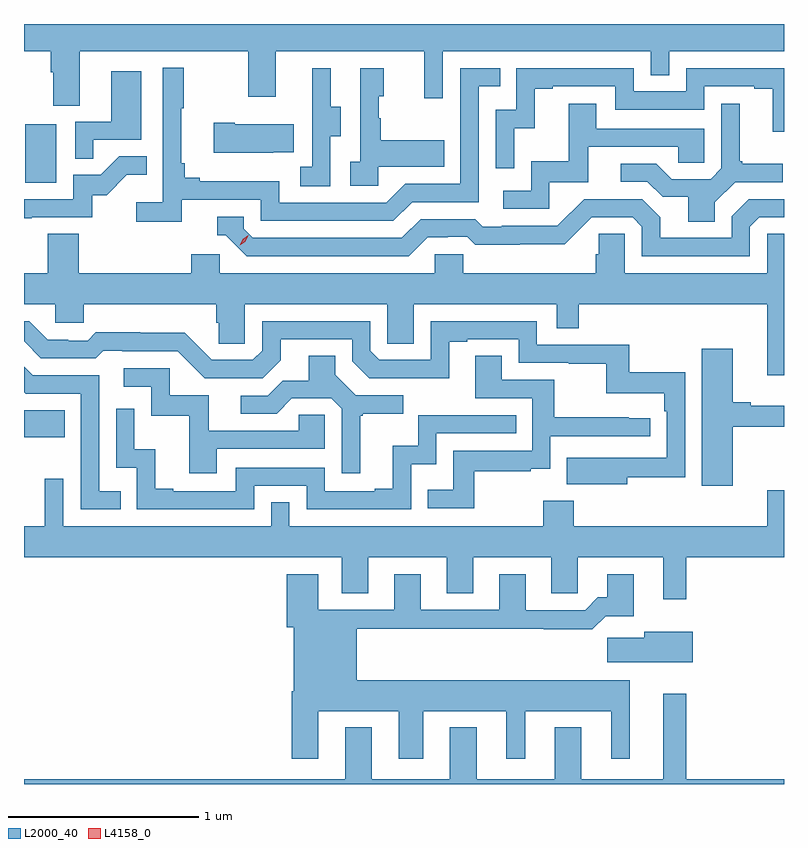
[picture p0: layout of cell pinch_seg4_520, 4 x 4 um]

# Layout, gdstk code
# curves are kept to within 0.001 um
import gdstk
lib = gdstk.Library(unit=1e-6, precision=1e-09)
def R(c, l, rs):  # rectangles x0, y0, x1, y1
    for r in rs: c.add(gdstk.rectangle(r[:2], r[2:], *l))
def P(c, l, *ps):  # polygons
    for p in ps: c.add(gdstk.Polygon(p, *l))
L2000_40 = (2000, 40)
L4158_0 = (4158, 0)

pinch_seg4_520 = lib.new_cell('pinch_seg4_520')
R(pinch_seg4_520, L2000_40, [(964.291,753.497,964.505,753.637), (964.298,754.836,964.462,755.143)])
P(pinch_seg4_520, L2000_40, [(964.585,755.528),(965.47,755.528),(965.47,755.289),(965.617,755.289),(965.617,755.528),(966.398,755.528),(966.398,755.28),(966.495,755.28),(966.495,755.528),(967.59,755.528),(967.59,755.401),(967.686,755.401),(967.686,755.528),(968.291,755.528),(968.291,755.671),(964.291,755.671),(964.291,755.528),(964.433,755.528),(964.433,755.416),(964.445,755.416),(964.445,755.242),(964.585,755.242)],
  [(965.12,754.746),(965.538,754.746),(965.538,754.635),(966.235,754.635),(966.334,754.734),(966.684,754.734),(966.684,755.343),(966.797,755.343),(966.797,755.439),(966.588,755.439),(966.588,754.83),(966.297,754.83),(966.198,754.731),(965.634,754.731),(965.634,754.843),(965.215,754.843),(965.215,754.862),(965.138,754.862),(965.138,754.939),(965.119,754.939),(965.119,755.227),(965.131,755.227),(965.131,755.44),(965.022,755.44),(965.022,754.732),(964.881,754.732),(964.881,754.63),(965.12,754.63)],
  [(966.87,755.123),(966.98,755.123),(966.98,755.331),(967.075,755.331),(967.075,755.343),(967.404,755.343),(967.404,755.22),(967.872,755.22),(967.872,755.343),(968.135,755.343),(968.135,755.331),(968.231,755.331),(968.231,755.105),(968.291,755.105),(968.291,755.439),(967.776,755.439),(967.776,755.316),(967.5,755.316),(967.5,755.439),(966.882,755.439),(966.882,755.22),(966.774,755.22),(966.774,754.911),(966.87,754.911)],
  [(966.156,754.919),(966.503,754.919),(966.503,755.059),(966.169,755.059),(966.169,755.174),(966.159,755.174),(966.159,755.292),(966.184,755.292),(966.184,755.437),(966.06,755.437),(966.06,754.946),(966.009,754.946),(966.009,754.821),(966.156,754.821)],
  [(965.904,755.08),(965.959,755.08),(965.959,755.235),(965.905,755.235),(965.905,755.437),(965.807,755.437),(965.807,755.223),(965.808,755.223),(965.808,754.919),(965.745,754.919),(965.745,754.816),(965.904,754.816)],
  [(964.655,755.061),(964.909,755.061),(964.909,755.422),(964.751,755.422),(964.751,755.157),(964.56,755.157),(964.56,754.963),(964.655,754.963)],
  [(967.056,754.839),(967.261,754.839),(967.261,755.025),(967.735,755.025),(967.735,754.941),(967.872,754.941),(967.872,755.121),(967.303,755.121),(967.303,755.251),(967.159,755.251),(967.159,754.948),(966.96,754.948),(966.96,754.794),(966.813,754.794),(966.813,754.698),(967.056,754.698)],
  [(967.927,754.732),(968.034,754.839),(968.284,754.839),(968.284,754.936),(968.071,754.936),(968.071,754.948),(968.059,754.948),(968.059,755.251),(967.962,755.251),(967.962,754.911),(967.905,754.854),(967.699,754.854),(967.618,754.935),(967.431,754.935),(967.431,754.842),(967.572,754.842),(967.652,754.762),(967.787,754.762),(967.787,754.63),(967.927,754.63)],
  [(965.603,754.997),(965.711,754.997),(965.711,755.143),(965.401,755.143),(965.401,755.151),(965.289,755.151),(965.289,754.994),(965.603,754.994)],
  [(964.331,754.653),(964.65,754.653),(964.65,754.77),(964.726,754.77),(964.833,754.877),(964.937,754.877),(964.937,754.976),(964.793,754.976),(964.695,754.878),(964.551,754.878),(964.551,754.749),(964.291,754.749),(964.291,754.648),(964.331,754.648)],
  [(966.415,754.548),(966.522,754.548),(966.522,754.551),(966.625,754.551),(966.667,754.509),(966.9,754.509),(966.9,754.511),(967.136,754.511),(967.278,754.653),(967.494,754.653),(967.542,754.605),(967.542,754.449),(968.112,754.449),(968.112,754.605),(968.16,754.653),(968.291,754.653),(968.291,754.749),(968.106,754.749),(968.016,754.659),(968.016,754.545),(967.639,754.545),(967.639,754.655),(967.545,754.749),(967.239,754.749),(967.098,754.608),(966.805,754.608),(966.805,754.605),(966.706,754.605),(966.667,754.644),(966.378,754.644),(966.279,754.545),(965.496,754.545),(965.448,754.593),(965.448,754.656),(965.309,754.656),(965.309,754.56),(965.352,754.56),(965.463,754.449),(966.316,754.449)],
  [(968.291,754.568),(968.202,754.568),(968.202,754.36),(967.452,754.36),(967.452,754.568),(967.315,754.568),(967.315,754.458),(967.301,754.458),(967.301,754.36),(966.603,754.36),(966.603,754.458),(966.453,754.458),(966.453,754.36),(965.322,754.36),(965.322,754.458),(965.171,754.458),(965.171,754.36),(964.58,754.36),(964.58,754.568),(964.415,754.568),(964.415,754.36),(964.291,754.36),(964.291,754.196),(964.455,754.196),(964.455,754.098),(964.605,754.098),(964.605,754.196),(965.303,754.196),(965.303,754.098),(965.317,754.098),(965.317,753.988),(965.454,753.988),(965.454,754.196),(966.204,754.196),(966.204,753.988),(966.343,753.988),(966.343,754.196),(967.095,754.196),(967.095,754.069),(967.211,754.069),(967.211,754.196),(968.204,754.196),(968.204,753.822),(968.291,753.822)],
  [(967.465,753.286),(967.77,753.286),(967.77,753.838),(967.477,753.838),(967.477,753.984),(966.99,753.984),(966.99,754.107),(966.432,754.107),(966.432,753.903),(966.162,753.903),(966.114,753.951),(966.114,754.107),(965.544,754.107),(965.544,753.951),(965.496,753.903),(965.28,753.903),(965.138,754.045),(964.902,754.045),(964.902,754.048),(964.669,754.048),(964.627,754.005),(964.524,754.005),(964.524,754.008),(964.417,754.008),(964.318,754.107),(964.291,754.107),(964.291,754.001),(964.38,753.912),(964.669,753.912),(964.708,753.951),(964.807,753.951),(964.807,753.948),(965.1,753.948),(965.241,753.807),(965.547,753.807),(965.641,753.901),(965.641,754.011),(966.018,754.011),(966.018,753.897),(966.108,753.807),(966.529,753.806),(966.529,753.999),(966.625,753.999),(966.625,754.011),(966.894,754.011),(966.894,753.888),(967.159,753.888),(967.159,753.883),(967.356,753.883),(967.356,753.728),(967.661,753.728),(967.661,753.632),(967.674,753.632),(967.674,753.387),(967.147,753.388),(967.147,753.248),(967.465,753.248)],
  [(968.02,753.552),(968.291,753.552),(968.291,753.661),(968.116,753.661),(968.116,753.68),(968.02,753.68),(968.02,753.961),(967.859,753.961),(967.859,753.24),(968.02,753.24)],
  [(966.061,753.609),(966.073,753.609),(966.073,753.62),(966.286,753.62),(966.286,753.717),(966.036,753.717),(965.929,753.824),(965.929,753.926),(965.789,753.926),(965.789,753.794),(965.654,753.794),(965.574,753.714),(965.433,753.714),(965.433,753.621),(965.62,753.621),(965.701,753.702),(965.907,753.702),(965.964,753.645),(965.964,753.306),(966.061,753.306)],
  [(966.661,753.318),(966.959,753.318),(966.959,753.329),(967.062,753.329),(967.062,753.501),(967.588,753.501),(967.588,753.597),(967.475,753.597),(967.475,753.602),(967.082,753.602),(967.082,753.798),(966.805,753.798),(966.805,753.926),(966.665,753.926),(966.665,753.702),(966.966,753.702),(966.966,753.426),(966.55,753.426),(966.55,753.22),(966.415,753.22),(966.415,753.123),(966.661,753.123)],
  [(964.799,753.213),(964.686,753.213),(964.686,753.822),(964.336,753.822),(964.291,753.867),(964.291,753.734),(964.299,753.726),(964.59,753.726),(964.59,753.117),(964.799,753.117)],
  [(965.305,753.435),(965.874,753.435),(965.874,753.615),(965.737,753.615),(965.737,753.531),(965.263,753.531),(965.263,753.717),(965.058,753.717),(965.058,753.858),(964.815,753.858),(964.815,753.762),(964.962,753.762),(964.962,753.609),(965.161,753.609),(965.161,753.306),(965.305,753.306)],
  [(965.502,753.24),(965.778,753.24),(965.778,753.117),(966.33,753.117),(966.33,753.353),(966.462,753.353),(966.462,753.516),(966.881,753.516),(966.881,753.612),(966.366,753.612),(966.366,753.451),(966.233,753.451),(966.233,753.226),(966.137,753.226),(966.137,753.213),(965.874,753.213),(965.874,753.336),(965.406,753.336),(965.406,753.213),(965.077,753.213),(965.077,753.226),(964.982,753.226),(964.982,753.434),(964.872,753.434),(964.872,753.646),(964.776,753.646),(964.776,753.336),(964.884,753.336),(964.884,753.117),(965.502,753.117)],
  [(967.184,753.163),(967.024,753.163),(967.024,753.028),(965.688,753.028),(965.688,753.155),(965.592,753.155),(965.592,753.028),(964.497,753.028),(964.497,753.277),(964.4,753.277),(964.4,753.028),(964.291,753.028),(964.291,752.864),(965.963,752.864),(965.963,752.674),(966.103,752.674),(966.103,752.864),(966.515,752.864),(966.515,752.674),(966.655,752.674),(966.655,752.864),(967.067,752.864),(967.067,752.674),(967.206,752.674),(967.206,752.864),(967.655,752.864),(967.655,752.643),(967.777,752.643),(967.777,752.864),(968.291,752.864),(968.291,753.217),(968.204,753.217),(968.204,753.028),(967.184,753.028)],
  [(965.839,752.054),(966.263,752.054),(966.263,751.803),(966.391,751.803),(966.391,752.054),(966.83,752.054),(966.83,751.803),(966.928,751.803),(966.928,752.054),(967.382,752.054),(967.382,751.803),(967.48,751.803),(967.48,752.218),(966.043,752.218),(966.043,752.488),(967.027,752.488),(967.027,752.486),(967.283,752.486),(967.352,752.555),(967.501,752.555),(967.501,752.776),(967.361,752.776),(967.361,752.653),(967.312,752.653),(967.245,752.586),(966.931,752.586),(966.931,752.776),(966.791,752.776),(966.791,752.589),(966.379,752.589),(966.379,752.776),(966.239,752.776),(966.239,752.589),(965.839,752.589),(965.839,752.776),(965.675,752.776),(965.675,752.496),(965.711,752.496),(965.711,752.158),(965.699,752.158),(965.699,751.803),(965.839,751.803)],
  [(967.81,752.473),(967.556,752.473),(967.556,752.441),(967.362,752.441),(967.362,752.312),(967.81,752.312)],
  [(968.291,751.696),(967.777,751.696),(967.777,752.146),(967.655,752.146),(967.655,751.696),(967.225,751.696),(967.225,751.969),(967.085,751.969),(967.085,751.696),(966.673,751.696),(966.673,751.969),(966.533,751.969),(966.533,751.696),(966.121,751.696),(966.121,751.969),(965.981,751.969),(965.981,751.696),(964.291,751.696),(964.291,751.671),(968.291,751.671)])
P(pinch_seg4_520, L4158_0, [(965.426,754.507),(965.426,754.507),(965.441,754.539),(965.471,754.559),(965.472,754.559),(965.472,754.558),(965.456,754.526),(965.426,754.507)])

lib.write_gds('pinch_seg4_520.gds')
